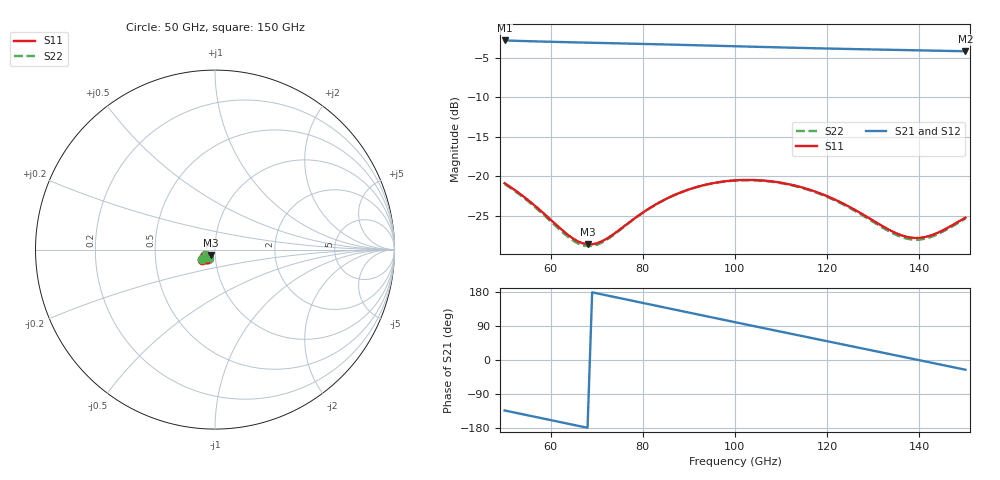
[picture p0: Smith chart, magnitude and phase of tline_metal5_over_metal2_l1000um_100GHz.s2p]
#  GHZ S DB R 50
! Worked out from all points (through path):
!   101 points, 50 GHz to 150 GHz, reference 50 ohm
!   highest |S21| = -2.79 dB at 50 GHz (marker M1); lowest = -4.2 dB at 150 GHz (marker M2)
!   group delay of S21, straight-line fit = 7.01 ps
!   lowest |S11| = -28.6 dB at 68 GHz (marker M3), VSWR 1.08, Z = 47.7 - j2.8 ohm
!   |S11| at or under -10 dB: start of sweep to end of sweep
!   |S22| runs from -28.9 to -20.5 dB; largest |S21 - S12| = 8.1e-14
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50  -20.88 -142.4  -2.79 -133.2  -2.79 -133.2  -20.98 -142.6
55  -22.98 -148.9  -2.88 -145.9  -2.88 -145.9  -23.12 -149.1
59  -24.98 -150.1  -2.94 -156.0  -2.94 -156.0  -25.17 -150.2
64  -27.54 -142.5  -3.02 -168.7  -3.02 -168.7  -27.79 -142.2
67  -28.51 -131.9  -3.06 -176.4  -3.06 -176.4  -28.76 -131.1
68  -28.62 -127.8  -3.07 -178.9  -3.07 -178.9  -28.86 -126.7
71  -28.27 -115.8  -3.11 173.5  -3.11 173.5  -28.44 -114.5
76  -26.30 -104.6  -3.18 160.8  -3.18 160.8  -26.37 -103.4
84  -23.18 -106.1  -3.29 140.4  -3.29 140.4  -23.20 -105.4
92  -21.31 -117.2  -3.40 120.1  -3.40 120.1  -21.33 -116.8
96  -20.79 -124.0  -3.46 109.9  -3.46 109.9  -20.82 -123.7
100  -20.52 -131.0  -3.52 99.8  -3.52 99.8  -20.55 -130.9
104  -20.47 -138.1  -3.59 89.7  -3.59 89.7  -20.51 -138.0
108  -20.65 -145.0  -3.65 79.7  -3.65 79.7  -20.70 -145.0
112  -21.04 -151.5  -3.70 69.6  -3.70 69.6  -21.11 -151.6
117  -21.86 -158.6  -3.77 57.1  -3.77 57.1  -21.94 -158.8
126  -24.25 -165.9  -3.89 34.5  -3.89 34.5  -24.38 -166.3
134  -26.95 -159.5  -3.98 14.5  -3.98 14.5  -27.15 -159.7
138  -27.76 -149.4  -4.02 4.5  -4.02 4.5  -27.98 -149.3
141  -27.73 -140.5  -4.06 -3.1  -4.06 -3.1  -27.94 -140.2
144  -27.16 -132.9  -4.09 -10.6  -4.09 -10.6  -27.34 -132.4
150  -25.25 -125.2  -4.16 -25.7  -4.16 -25.7  -25.37 -124.7
